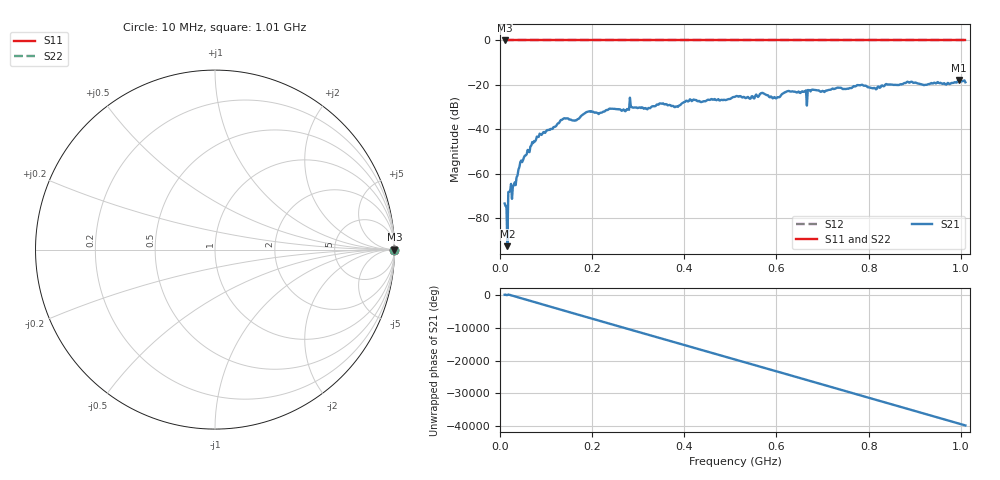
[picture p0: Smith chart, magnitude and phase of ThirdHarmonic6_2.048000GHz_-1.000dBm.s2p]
! 8/17/2025 12:33:29 AM
! C:\ANRITSUVNA\TEMP\TEMP.S2P
! CHANNEL.1
! TR.MEASUREMENT
! RAW.DATA
! RF.CORRECTION.OFF
! AVERAGING.OFF
! IF.BANDWIDTH: 5KHZ
! SWEEPTYPE:  FREQ.SWEEP(Linear)
! Reference Plane Port Info
! PORT:  PORT1  PORT2
! DISTANCE:  0  m  0  m
! TIME:  0  s  0  s
! PHASE.OFFSET:  0  deg.  0  deg.
! LOSS:  0  dB  0  dB
! REF.LOSS:  0  dB  0  dB
! REF.FREQ:  0  Hz  0  Hz
! Power Info
! POWER:  -20  dBm  -20  dBm
! EFF.POWER:  -20  dBm  -20  dBm
! SOURCE.ATTEN:  0  dB  0  dB
! TEST.ATTEN:  0  dB  0  dB
# GHZ S RI R 50.0
! FREQ.GHZ  S11RE  S11IM  S21RE  S21IM  S12RE  S12IM  S22RE  S22IM
!; PortSelection: Port_12
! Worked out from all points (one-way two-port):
!   501 points, 10 MHz to 1.01 GHz, reference 50 ohm
!   highest |S21| = -17.83 dB at 996 MHz (marker M1); lowest = -92.6 dB at 16 MHz (marker M2)
!   lowest |S11| = 0.0 dB at 10 MHz (marker M3)
!   |S11| at or under -10 dB: nowhere
!   |S22| runs from 0.0 to 0.0 dB; largest |S21 - S12| = 1.1
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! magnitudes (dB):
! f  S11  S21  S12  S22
! 10 MHz  0.0  -73.4  0.0  0.0
! 12 MHz  0.0  -74.5  0.0  0.0
! 16 MHz  0.0  -92.6  0.0  0.0
! 22 MHz  0.0  -67.8  0.0  0.0
! 30 MHz  0.0  -65.2  0.0  0.0
! 44 MHz  0.0  -54.8  0.0  0.0
! 84 MHz  0.0  -43.4  0.0  0.0
! 136 MHz  0.0  -35.4  0.0  0.0
! 162 MHz  0.0  -36.1  0.0  0.0
! 178 MHz  0.0  -33.7  0.0  0.0
! 344 MHz  0.0  -28.9  0.0  0.0
! 382 MHz  0.0  -29.7  0.0  0.0
! 410 MHz  0.0  -27.2  0.0  0.0
! 510 MHz  0.0  -25.4  0.0  0.0
! 570 MHz  0.0  -23.6  0.0  0.0
! 596 MHz  0.0  -25.5  0.0  0.0
! 624 MHz  0.0  -22.9  0.0  0.0
! 662 MHz  0.0  -22.9  0.0  0.0
! 678 MHz  0.0  -22.1  0.0  0.0
! 844 MHz  0.0  -19.8  0.0  0.0
! 996 MHz  0.0  -17.8  0.0  0.0
! 1.01 GHz  0.0  -18.8  0.0  0.0
